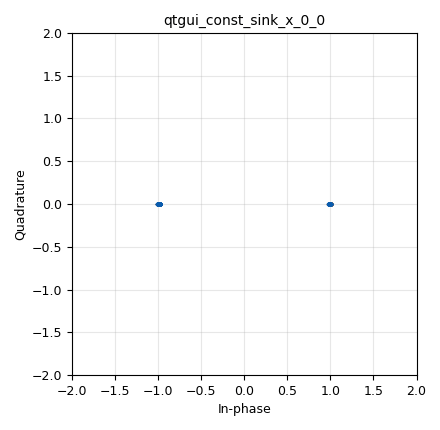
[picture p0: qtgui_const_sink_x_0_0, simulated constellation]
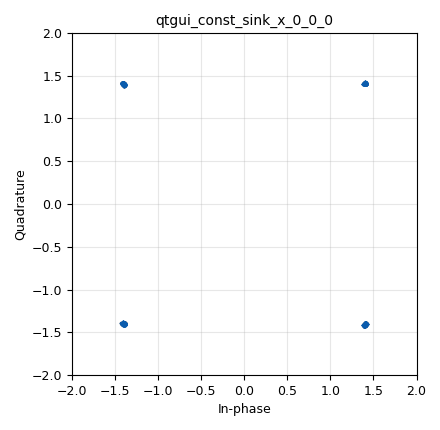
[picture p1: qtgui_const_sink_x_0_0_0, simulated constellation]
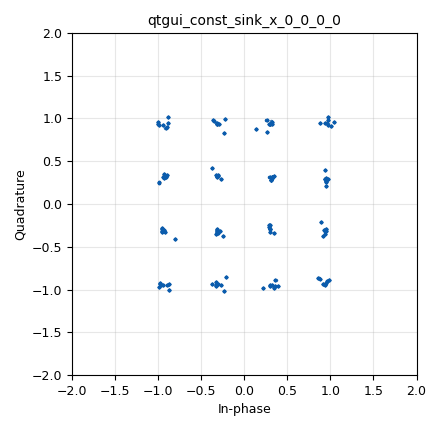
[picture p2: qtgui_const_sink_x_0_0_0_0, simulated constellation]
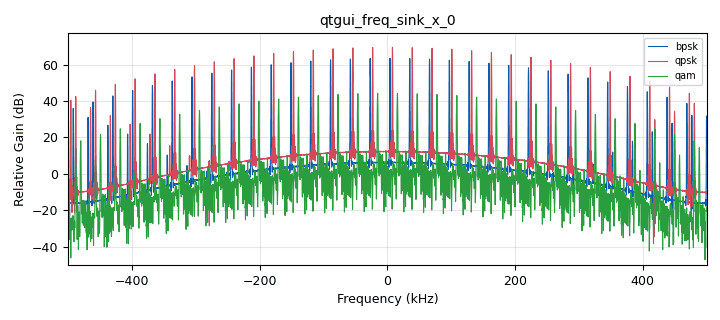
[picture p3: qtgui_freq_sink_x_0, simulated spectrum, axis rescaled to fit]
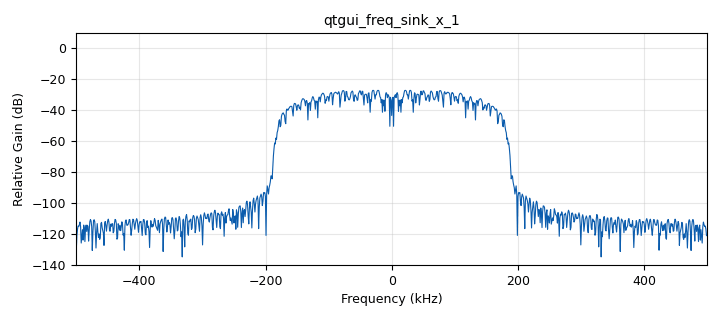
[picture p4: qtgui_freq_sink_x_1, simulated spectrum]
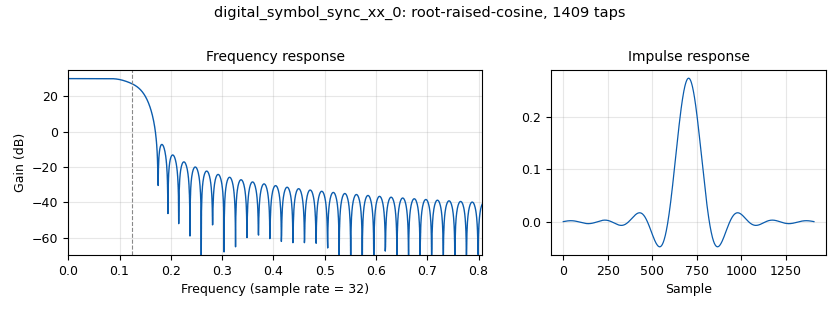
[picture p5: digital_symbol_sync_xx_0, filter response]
options:
  parameters:
    generate_options: qt_gui
    id: QAM
    output_language: python
    title: Not titled yet
  states: {}

blocks:
- name: N
  id: variable
  parameters:
    value: 1024*4
  states: {}
- name: bw
  id: variable
  parameters:
    value: '.5'
  states: {}
- name: cbpsk
  id: variable
  parameters:
    value: '[-1-0j,+1+0j]'
  states: {state: disabled}
- name: const_bpsk
  id: variable_constellation
  parameters:
    const_points: cbpsk
    dims: '1'
    normalization: digital.constellation.NO_NORMALIZATION
    precision: '8'
    rot_sym: '4'
    sym_map: sbpsk
    type: calcdist
  states: {state: disabled}
- name: const_bpsk
  id: variable_constellation
  parameters:
    precision: '8'
    type: bpsk
  states: {}
- name: const_qam
  id: variable_constellation
  parameters:
    const_points: cqam
    dims: '1'
    normalization: digital.constellation.NO_NORMALIZATION
    precision: '8'
    rot_sym: '4'
    sym_map: sqam
    type: calcdist
  states: {state: disabled}
- name: const_qam
  id: variable_constellation
  parameters:
    precision: '8'
    type: 16qam
  states: {}
- name: const_qpsk
  id: variable_constellation
  parameters:
    const_points: cqpsk
    dims: '1'
    normalization: digital.constellation.NO_NORMALIZATION
    precision: '8'
    rot_sym: '4'
    sym_map: sqpsk
    type: calcdist
  states: {state: disabled}
- name: const_qpsk
  id: variable_constellation
  parameters:
    precision: '8'
    type: qpsk
  states: {}
- name: cqam
  id: variable
  parameters:
    value: '[+1-1j, +1+1j, +1-.33j, +1+.33j, .33-1j, .33-.33j, .33+.33j, .33+1j, -1-1j, -1+1j, -1-.33j, -1+.33j, -.33-1j, -.33-.33j, -.33+.33j, -.33+1j]'
  states: {state: disabled}
- name: cqpsk
  id: variable
  parameters:
    value: '[-1-1j,-1+1j,+1-1j,+1+1j]'
  states: {state: disabled}
- name: dV
  id: variable_qtgui_range
  parameters:
    start: '0'
    step: '.01'
    stop: '1'
    value: '0'
  states: {}
- name: nfilts
  id: variable
  parameters:
    value: '32'
  states: {}
- name: rrc
  id: variable
  parameters:
    value: firdes.root_raised_cosine(nfilts, nfilts, 1.0/float(sps), 0.35, 11*sps*nfilts)
  states: {}
- name: samp_rate
  id: variable
  parameters:
    value: 1e6
  states: {}
- name: sbpsk
  id: variable
  parameters:
    value: '[0,1]'
  states: {state: disabled}
- name: sps
  id: variable
  parameters:
    value: '4'
  states: {}
- name: sqam
  id: variable
  parameters:
    value: '[0,1,2,3,4,5,6,7,8,9,10,11,12,13,14,15]'
  states: {state: disabled}
- name: sqpsk
  id: variable
  parameters:
    value: '[0,1,2,3]'
  states: {state: disabled}
- name: blocks_add_const_vxx_0
  id: blocks_add_const_vxx
  parameters:
    const: '1'
    type: float
  states: {}
- name: blocks_float_to_char_0
  id: blocks_float_to_char
  parameters:
    scale: '.5'
  states: {}
- name: blocks_multiply_conjugate_cc_0
  id: blocks_multiply_conjugate_cc
  parameters:
    vlen: N
  states: {}
- name: blocks_multiply_conjugate_cc_0_0
  id: blocks_multiply_conjugate_cc
  parameters:
    vlen: N
  states: {}
- name: blocks_multiply_conjugate_cc_0_0_0
  id: blocks_multiply_conjugate_cc
  parameters:
    vlen: N
  states: {}
- name: blocks_pack_k_bits_bb_0
  id: blocks_pack_k_bits_bb
  parameters:
    k: '8'
  states: {}
- name: blocks_stream_to_vector_0
  id: blocks_stream_to_vector
  parameters:
    num_items: N
    type: float
  states: {}
- name: blocks_stream_to_vector_0_0
  id: blocks_stream_to_vector
  parameters:
    num_items: N
    type: float
  states: {}
- name: blocks_stream_to_vector_0_1
  id: blocks_stream_to_vector
  parameters:
    num_items: N
    type: float
  states: {}
- name: blocks_stream_to_vector_0_1_0
  id: blocks_stream_to_vector
  parameters:
    num_items: N
    type: float
  states: {}
- name: blocks_throttle_0
  id: blocks_throttle
  parameters:
    samples_per_second: samp_rate
    type: float
  states: {}
- name: blocks_vector_to_stream_0
  id: blocks_vector_to_stream
  parameters:
    num_items: N
    type: complex
  states: {}
- name: blocks_vector_to_stream_0_0
  id: blocks_vector_to_stream
  parameters:
    num_items: N
    type: complex
  states: {}
- name: blocks_vector_to_stream_0_1
  id: blocks_vector_to_stream
  parameters:
    num_items: N
    type: complex
  states: {}
- name: channels_channel_model_0
  id: channels_channel_model
  parameters:
    epsilon: '1.0'
    freq_offset: '0.0'
    noise_voltage: dV
    seed: '0'
    taps: '1'
  states: {}
- name: channels_channel_model_0_0
  id: channels_channel_model
  parameters:
    epsilon: '1.0'
    freq_offset: '0.0'
    noise_voltage: dV
    seed: '0'
    taps: '1'
  states: {}
- name: channels_channel_model_0_0_0
  id: channels_channel_model
  parameters:
    epsilon: '1.0'
    freq_offset: '0.0'
    noise_voltage: dV
    seed: '0'
    taps: '1'
  states: {}
- name: digital_constellation_modulator_0
  id: digital_constellation_modulator
  parameters:
    constellation: const_bpsk
    differential: 'False'
    excess_bw: bw
    samples_per_symbol: sps
  states: {}
- name: digital_constellation_modulator_0_0
  id: digital_constellation_modulator
  parameters:
    constellation: const_qpsk
    differential: 'False'
    excess_bw: bw
    samples_per_symbol: sps
  states: {}
- name: digital_constellation_modulator_0_0_0
  id: digital_constellation_modulator
  parameters:
    constellation: const_qam
    differential: 'False'
    excess_bw: bw
    samples_per_symbol: sps
  states: {}
- name: digital_constellation_soft_decoder_cf_0
  id: digital_constellation_soft_decoder_cf
  parameters:
    constellation: const_bpsk
  states: {}
- name: digital_constellation_soft_decoder_cf_0_0
  id: digital_constellation_soft_decoder_cf
  parameters:
    constellation: const_qpsk
  states: {}
- name: digital_constellation_soft_decoder_cf_0_0_0
  id: digital_constellation_soft_decoder_cf
  parameters:
    constellation: const_qam
  states: {}
- name: digital_glfsr_source_x_0
  id: digital_glfsr_source_x
  parameters:
    degree: '7'
    mask: '0'
    repeat: 'True'
    seed: '1'
    type: float
  states: {}
- name: digital_symbol_sync_xx_0
  id: digital_symbol_sync_xx
  parameters:
    damping: '1.0'
    loop_bw: '0.063'
    max_dev: '1.5'
    nfilters: '32'
    osps: '1'
    pfb_mf_taps: rrc
    resamp_type: digital.IR_PFB_MF
    sps: sps
    ted_gain: '1.0'
    ted_type: digital.TED_MUELLER_AND_MULLER
    type: cc
  states: {}
- name: digital_symbol_sync_xx_0_0
  id: digital_symbol_sync_xx
  parameters:
    damping: '1.0'
    loop_bw: '0.063'
    max_dev: '1.5'
    nfilters: '32'
    osps: '1'
    pfb_mf_taps: rrc
    resamp_type: digital.IR_PFB_MF
    sps: sps
    ted_gain: '1.0'
    ted_type: digital.TED_MUELLER_AND_MULLER
    type: cc
  states: {}
- name: digital_symbol_sync_xx_0_1
  id: digital_symbol_sync_xx
  parameters:
    damping: '1.0'
    loop_bw: '0.063'
    max_dev: '1.5'
    nfilters: '32'
    osps: '1'
    pfb_mf_taps: rrc
    resamp_type: digital.IR_PFB_MF
    sps: sps
    ted_gain: '1.0'
    ted_type: digital.TED_MUELLER_AND_MULLER
    type: cc
  states: {}
- name: fft_vxx_0
  id: fft_vxx
  parameters:
    fft_size: N
    forward: 'False'
    shift: 'True'
    type: float
    window: window.blackmanharris(N)
  states: {}
- name: fft_vxx_0_0
  id: fft_vxx
  parameters:
    fft_size: N
    forward: 'False'
    shift: 'True'
    type: float
    window: window.blackmanharris(N)
  states: {}
- name: fft_vxx_0_0_0
  id: fft_vxx
  parameters:
    fft_size: N
    forward: 'False'
    shift: 'True'
    type: float
    window: window.blackmanharris(N)
  states: {}
- name: fft_vxx_0_0_0_0
  id: fft_vxx
  parameters:
    fft_size: N
    forward: 'False'
    shift: 'True'
    type: float
    window: window.blackmanharris(N)
  states: {}
- name: qtgui_const_sink_x_0_0
  id: qtgui_const_sink_x
  parameters:
    size: '1024'
    type: complex
  states: {}
- name: qtgui_const_sink_x_0_0_0
  id: qtgui_const_sink_x
  parameters:
    size: '1024'
    type: complex
  states: {}
- name: qtgui_const_sink_x_0_0_0_0
  id: qtgui_const_sink_x
  parameters:
    size: '1024'
    type: complex
  states: {}
- name: qtgui_freq_sink_x_0
  id: qtgui_freq_sink_x
  parameters:
    bw: samp_rate
    fc: '0'
    fftsize: N
    label1: '"bpsk"'
    label2: '''qpsk'''
    label3: '''qam'''
    nconnections: '3'
    type: complex
    ymax: '60'
    ymin: '-5'
  states: {}
- name: qtgui_freq_sink_x_1
  id: qtgui_freq_sink_x
  parameters:
    bw: samp_rate
    fc: '0'
    fftsize: '1024'
    type: complex
  states: {}

connections:
- [blocks_add_const_vxx_0, '0', blocks_float_to_char_0, '0']
- [blocks_float_to_char_0, '0', blocks_pack_k_bits_bb_0, '0']
- [blocks_multiply_conjugate_cc_0, '0', blocks_vector_to_stream_0, '0']
- [blocks_multiply_conjugate_cc_0_0, '0', blocks_vector_to_stream_0_0, '0']
- [blocks_multiply_conjugate_cc_0_0_0, '0', blocks_vector_to_stream_0_1, '0']
- [blocks_pack_k_bits_bb_0, '0', digital_constellation_modulator_0, '0']
- [blocks_pack_k_bits_bb_0, '0', digital_constellation_modulator_0_0, '0']
- [blocks_pack_k_bits_bb_0, '0', digital_constellation_modulator_0_0_0, '0']
- [blocks_stream_to_vector_0, '0', fft_vxx_0_0, '0']
- [blocks_stream_to_vector_0_0, '0', fft_vxx_0, '0']
- [blocks_stream_to_vector_0_1, '0', fft_vxx_0_0_0, '0']
- [blocks_stream_to_vector_0_1_0, '0', fft_vxx_0_0_0_0, '0']
- [blocks_throttle_0, '0', blocks_stream_to_vector_0_0, '0']
- [blocks_vector_to_stream_0, '0', qtgui_freq_sink_x_0, '0']
- [blocks_vector_to_stream_0_0, '0', qtgui_freq_sink_x_0, '1']
- [blocks_vector_to_stream_0_1, '0', qtgui_freq_sink_x_0, '2']
- [channels_channel_model_0, '0', digital_symbol_sync_xx_0, '0']
- [channels_channel_model_0, '0', qtgui_freq_sink_x_1, '0']
- [channels_channel_model_0_0, '0', digital_symbol_sync_xx_0_0, '0']
- [channels_channel_model_0_0_0, '0', digital_symbol_sync_xx_0_1, '0']
- [digital_constellation_modulator_0, '0', channels_channel_model_0, '0']
- [digital_constellation_modulator_0_0, '0', channels_channel_model_0_0, '0']
- [digital_constellation_modulator_0_0_0, '0', channels_channel_model_0_0_0, '0']
- [digital_constellation_soft_decoder_cf_0, '0', blocks_stream_to_vector_0, '0']
- [digital_constellation_soft_decoder_cf_0_0, '0', blocks_stream_to_vector_0_1, '0']
- [digital_constellation_soft_decoder_cf_0_0_0, '0', blocks_stream_to_vector_0_1_0, '0']
- [digital_glfsr_source_x_0, '0', blocks_add_const_vxx_0, '0']
- [digital_glfsr_source_x_0, '0', blocks_throttle_0, '0']
- [digital_symbol_sync_xx_0, '0', digital_constellation_soft_decoder_cf_0, '0']
- [digital_symbol_sync_xx_0, '0', qtgui_const_sink_x_0_0, '0']
- [digital_symbol_sync_xx_0_0, '0', digital_constellation_soft_decoder_cf_0_0, '0']
- [digital_symbol_sync_xx_0_0, '0', qtgui_const_sink_x_0_0_0, '0']
- [digital_symbol_sync_xx_0_1, '0', digital_constellation_soft_decoder_cf_0_0_0, '0']
- [digital_symbol_sync_xx_0_1, '0', qtgui_const_sink_x_0_0_0_0, '0']
- [fft_vxx_0, '0', blocks_multiply_conjugate_cc_0, '1']
- [fft_vxx_0, '0', blocks_multiply_conjugate_cc_0_0, '1']
- [fft_vxx_0, '0', blocks_multiply_conjugate_cc_0_0_0, '1']
- [fft_vxx_0_0, '0', blocks_multiply_conjugate_cc_0, '0']
- [fft_vxx_0_0_0, '0', blocks_multiply_conjugate_cc_0_0, '0']
- [fft_vxx_0_0_0_0, '0', blocks_multiply_conjugate_cc_0_0_0, '0']

metadata:
  file_format: 1
